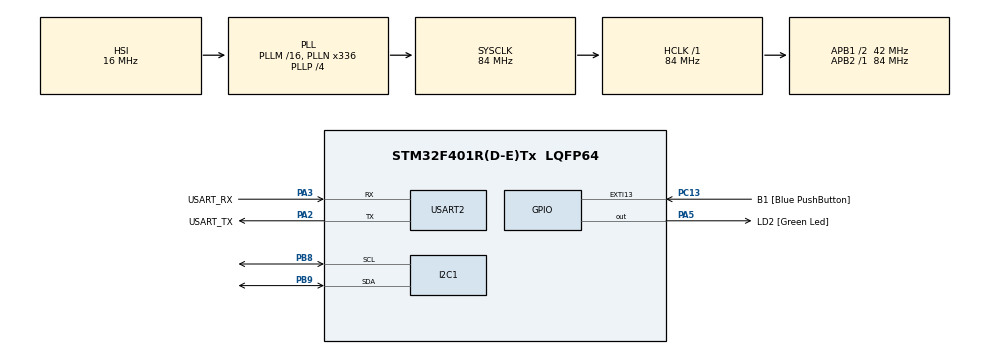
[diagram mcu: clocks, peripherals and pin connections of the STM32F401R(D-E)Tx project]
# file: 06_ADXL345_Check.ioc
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Mcu.Family=STM32F4
Mcu.Name=STM32F401R(D-E)Tx
Mcu.Package=LQFP64
NVIC.PriorityGroup=NVIC_PRIORITYGROUP_4
PA13.GPIO_Label=TMS
PA13.Mode=Trace_Asynchronous_SW
PA13.Signal=SYS_JTMS-SWDIO
PA14.GPIO_Label=TCK
PA14.Mode=Trace_Asynchronous_SW
PA14.Signal=SYS_JTCK-SWCLK
PA2.GPIO_Label=USART_TX
PA2.GPIO_Mode=GPIO_MODE_AF_PP
PA2.GPIO_PuPd=GPIO_NOPULL
PA2.GPIO_Speed=GPIO_SPEED_FREQ_LOW
PA2.Mode=Asynchronous
PA2.Signal=USART2_TX
PA3.GPIO_Label=USART_RX
PA3.GPIO_Mode=GPIO_MODE_AF_PP
PA3.GPIO_PuPd=GPIO_NOPULL
PA3.GPIO_Speed=GPIO_SPEED_FREQ_LOW
PA3.Mode=Asynchronous
PA3.Signal=USART2_RX
PA5.GPIO_Label=LD2 [Green Led]
PA5.GPIO_Mode=GPIO_MODE_OUTPUT_PP
PA5.GPIO_PuPd=GPIO_NOPULL
PA5.GPIO_Speed=GPIO_SPEED_FREQ_LOW
PA5.Signal=GPIO_Output
PB3.GPIO_Label=SWO
PB3.Mode=Trace_Asynchronous_SW
PB3.Signal=SYS_JTDO-SWO
PB8.Mode=I2C
PB8.Signal=I2C1_SCL
PB9.Mode=I2C
PB9.Signal=I2C1_SDA
PC13-ANTI_TAMP.GPIO_Label=B1 [Blue PushButton]
PC13-ANTI_TAMP.GPIO_ModeDefaultEXTI=GPIO_MODE_IT_FALLING
PC13-ANTI_TAMP.GPIO_PuPd=GPIO_NOPULL
PC13-ANTI_TAMP.Signal=GPXTI13
PC14-OSC32_IN.Mode=LSE-External-Oscillator
PC14-OSC32_IN.Signal=RCC_OSC32_IN
PC15-OSC32_OUT.Mode=LSE-External-Oscillator
PC15-OSC32_OUT.Signal=RCC_OSC32_OUT
PH0\ -\ OSC_IN.Mode=HSE-External-Clock-Source
PH0\ -\ OSC_IN.Signal=RCC_OSC_IN
PH1\ -\ OSC_OUT.Mode=HSE-External-Clock-Source
PH1\ -\ OSC_OUT.Signal=RCC_OSC_OUT
ProjectManager.HeapSize=0x200
ProjectManager.StackSize=0x400
ProjectManager.TargetToolchain=STM32CubeIDE
RCC.48MHZClocksFreq_Value=48000000
RCC.AHBFreq_Value=84000000
RCC.APB1CLKDivider=RCC_HCLK_DIV2
RCC.APB1Freq_Value=42000000
RCC.APB1TimFreq_Value=84000000
RCC.APB2Freq_Value=84000000
RCC.APB2TimFreq_Value=84000000
RCC.CortexFreq_Value=84000000
RCC.HCLKFreq_Value=84000000
RCC.HSE_VALUE=8000000
RCC.HSI_VALUE=16000000
RCC.PLLN=336
RCC.PLLP=RCC_PLLP_DIV4
RCC.PLLQ=7
RCC.SYSCLKFreq_VALUE=84000000
RCC.SYSCLKSource=RCC_SYSCLKSOURCE_PLLCLK
RCC.VCOOutputFreq_Value=336000000
USART2.VirtualMode=VM_ASYNC
board=NUCLEO-F401RE

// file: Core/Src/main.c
/* USER CODE BEGIN Header */
/**
  ******************************************************************************
  * @file           : main.c
  * @brief          : Main program body
  ******************************************************************************
  * @attention
  *
  * Copyright (c) 2026 STMicroelectronics.
  * All rights reserved.
  *
  * This software is licensed under terms that can be found in the LICENSE file
  * in the root directory of this software component.
  * If no LICENSE file comes with this software, it is provided AS-IS.
  *
  ******************************************************************************
  */
/* USER CODE END Header */
#include "main.h"

/* USER CODE BEGIN PD */
#define ADXL_ADDR (0x53<<1)	// ADXL345 device ID

// ADXL345 register address
#define ADXL_REG_ID 0x00	// ID
#define ADXL_REG_POWER_CTL 0x2D	// Power Control
#define ADXL_REG_DATAX0 0x32	// DATA X0
#define ADXL_REG_DATAX1 0x33	// DATA X1
#define ADXL_REG_DATAY0 0x34	// DATA Y0
#define ADXL_REG_DATAY1 0x35	// DATA Y1
#define ADXL_REG_DATAZ0 0x36	// DATA Z0
#define ADXL_REG_DATAZ1 0x37	// DATA Z1

/* USER CODE END PD */

I2C_HandleTypeDef hi2c1;

UART_HandleTypeDef huart2;

/* USER CODE BEGIN PV */
char msg[64];
/* USER CODE END PV */

void SystemClock_Config(void);
static void MX_GPIO_Init(void);
static void MX_USART2_UART_Init(void);
static void MX_I2C1_Init(void);
/* USER CODE BEGIN PFP */
void ADXL345_Init(I2C_HandleTypeDef *hi2c);
void ADXL345_Read_ID_UART(I2C_HandleTypeDef *hi2c, UART_HandleTypeDef *huart);
HAL_StatusTypeDef ADXL345_Read_Raw(I2C_HandleTypeDef *hi2c, int16_t *x, int16_t *y, int16_t *z);
/* USER CODE END PFP */

int main(void)
{

  /* MCU Configuration--------------------------------------------------------*/

  /* Reset of all peripherals, Initializes the Flash interface and the Systick. */
  HAL_Init();

  /* Configure the system clock */
  SystemClock_Config();

  /* Initialize all configured peripherals */
  MX_GPIO_Init();
  MX_USART2_UART_Init();
  MX_I2C1_Init();
  /* USER CODE BEGIN 2 */
  ADXL345_Init(&hi2c1);
  ADXL345_Read_ID_UART(&hi2c1, &huart2);
  int16_t x, y, z;
  /* USER CODE END 2 */

  /* Infinite loop */
  while (1)
  {

    /* USER CODE BEGIN 3 */

	// Update XYZ data
	if(ADXL345_Read_Raw(&hi2c1, &x, &y, &z) == HAL_OK)
	{
		int len = sprintf(msg, "X=%5d | Y=%5d | Z=%5d\r\n", x, y, z);
		HAL_UART_Transmit(&huart2, (uint8_t*)msg, len, 100);
	}

	HAL_Delay(300);
  }
  /* USER CODE END 3 */
}

void SystemClock_Config(void)
{
  RCC_OscInitTypeDef RCC_OscInitStruct = {0};
  RCC_ClkInitTypeDef RCC_ClkInitStruct = {0};

  /** Configure the main internal regulator output voltage
  */
  __HAL_RCC_PWR_CLK_ENABLE();
  __HAL_PWR_VOLTAGESCALING_CONFIG(PWR_REGULATOR_VOLTAGE_SCALE2);

  /** Initializes the RCC Oscillators according to the specified parameters
  * in the RCC_OscInitTypeDef structure.
  */
  RCC_OscInitStruct.OscillatorType = RCC_OSCILLATORTYPE_HSI;
  RCC_OscInitStruct.HSIState = RCC_HSI_ON;
  RCC_OscInitStruct.HSICalibrationValue = RCC_HSICALIBRATION_DEFAULT;
  RCC_OscInitStruct.PLL.PLLState = RCC_PLL_ON;
  RCC_OscInitStruct.PLL.PLLSource = RCC_PLLSOURCE_HSI;
  RCC_OscInitStruct.PLL.PLLM = 16;
  RCC_OscInitStruct.PLL.PLLN = 336;
  RCC_OscInitStruct.PLL.PLLP = RCC_PLLP_DIV4;
  RCC_OscInitStruct.PLL.PLLQ = 7;
  if (HAL_RCC_OscConfig(&RCC_OscInitStruct) != HAL_OK)
  {
    Error_Handler();
  }

  /** Initializes the CPU, AHB and APB buses clocks
  */
  RCC_ClkInitStruct.ClockType = RCC_CLOCKTYPE_HCLK|RCC_CLOCKTYPE_SYSCLK
                              |RCC_CLOCKTYPE_PCLK1|RCC_CLOCKTYPE_PCLK2;
  RCC_ClkInitStruct.SYSCLKSource = RCC_SYSCLKSOURCE_PLLCLK;
  RCC_ClkInitStruct.AHBCLKDivider = RCC_SYSCLK_DIV1;
  RCC_ClkInitStruct.APB1CLKDivider = RCC_HCLK_DIV2;
  RCC_ClkInitStruct.APB2CLKDivider = RCC_HCLK_DIV1;

  if (HAL_RCC_ClockConfig(&RCC_ClkInitStruct, FLASH_LATENCY_2) != HAL_OK)
  {
    Error_Handler();
  }
}

static void MX_I2C1_Init(void)
{

  hi2c1.Instance = I2C1;
  hi2c1.Init.ClockSpeed = 100000;
  hi2c1.Init.DutyCycle = I2C_DUTYCYCLE_2;
  hi2c1.Init.OwnAddress1 = 0;
  hi2c1.Init.AddressingMode = I2C_ADDRESSINGMODE_7BIT;
  hi2c1.Init.DualAddressMode = I2C_DUALADDRESS_DISABLE;
  hi2c1.Init.OwnAddress2 = 0;
  hi2c1.Init.GeneralCallMode = I2C_GENERALCALL_DISABLE;
  hi2c1.Init.NoStretchMode = I2C_NOSTRETCH_DISABLE;
  if (HAL_I2C_Init(&hi2c1) != HAL_OK)
  {
    Error_Handler();
  }

}

static void MX_USART2_UART_Init(void)
{

  huart2.Instance = USART2;
  huart2.Init.BaudRate = 115200;
  huart2.Init.WordLength = UART_WORDLENGTH_8B;
  huart2.Init.StopBits = UART_STOPBITS_1;
  huart2.Init.Parity = UART_PARITY_NONE;
  huart2.Init.Mode = UART_MODE_TX_RX;
  huart2.Init.HwFlowCtl = UART_HWCONTROL_NONE;
  huart2.Init.OverSampling = UART_OVERSAMPLING_16;
  if (HAL_UART_Init(&huart2) != HAL_OK)
  {
    Error_Handler();
  }

}

static void MX_GPIO_Init(void)
{
  GPIO_InitTypeDef GPIO_InitStruct = {0};

  /* GPIO Ports Clock Enable */
  __HAL_RCC_GPIOC_CLK_ENABLE();
  __HAL_RCC_GPIOH_CLK_ENABLE();
  __HAL_RCC_GPIOA_CLK_ENABLE();
  __HAL_RCC_GPIOB_CLK_ENABLE();

  /*Configure GPIO pin Output Level */
  HAL_GPIO_WritePin(LD2_GPIO_Port, LD2_Pin, GPIO_PIN_RESET);

  /*Configure GPIO pin : B1_Pin */
  GPIO_InitStruct.Pin = B1_Pin;
  GPIO_InitStruct.Mode = GPIO_MODE_IT_FALLING;
  GPIO_InitStruct.Pull = GPIO_NOPULL;
  HAL_GPIO_Init(B1_GPIO_Port, &GPIO_InitStruct);

  /*Configure GPIO pin : LD2_Pin */
  GPIO_InitStruct.Pin = LD2_Pin;
  GPIO_InitStruct.Mode = GPIO_MODE_OUTPUT_PP;
  GPIO_InitStruct.Pull = GPIO_NOPULL;
  GPIO_InitStruct.Speed = GPIO_SPEED_FREQ_LOW;
  HAL_GPIO_Init(LD2_GPIO_Port, &GPIO_InitStruct);

}

/* USER CODE BEGIN 4 */
void ADXL345_Init(I2C_HandleTypeDef *hi2c)
{
	uint8_t power_cmd = (1<<3);	// Wake-Up ADXL // bit3 = 1
	HAL_I2C_Mem_Write(hi2c, ADXL_ADDR, ADXL_REG_POWER_CTL, 1, &power_cmd, 1, 100);
}

void ADXL345_Read_ID_UART(I2C_HandleTypeDef *hi2c, UART_HandleTypeDef *huart)
{
	uint8_t id_val = 0;
	HAL_StatusTypeDef ADXL_STATUS;

	// HAL_I2C_Mem_Read(which I2C, device ID, register addr, register length(byte), put data at, data reading length, timeout);
	ADXL_STATUS = HAL_I2C_Mem_Read(hi2c, ADXL_ADDR, ADXL_REG_ID, 1, &id_val, 1, 100);

	if(ADXL_STATUS == HAL_OK)
	{
		int len = sprintf(msg, "connect is OK! ADXL345 ID is 0x%02X\r\n", id_val);
		HAL_UART_Transmit(huart, (uint8_t*)msg, len, 100);
	}
	else
	{
		int len = sprintf(msg, "ADXL connect has other BUGs!\r\n");
		if(ADXL_STATUS == HAL_BUSY)	len = sprintf(msg, "ADXL connect is BUSY!\r\n");
		if(ADXL_STATUS == HAL_ERROR)	len = sprintf(msg, "ADXL connect is ERROR!\r\n");
		if(ADXL_STATUS == HAL_TIMEOUT)	len = sprintf(msg, "ADXL connect is TIMEOUT!\r\n");
		HAL_UART_Transmit(huart, (uint8_t*)msg, len, 100);
	}
}

HAL_StatusTypeDef ADXL345_Read_Raw(I2C_HandleTypeDef *hi2c, int16_t *x, int16_t *y, int16_t *z)
{
	uint8_t raw_data[6];
	HAL_StatusTypeDef status = HAL_I2C_Mem_Read(hi2c, ADXL_ADDR, ADXL_REG_DATAX0, 1, raw_data, 6, 100);
	if(status == HAL_OK)
	{
	  *x = (int16_t)((raw_data[1]<<8) | raw_data[0]);
	  *y = (int16_t)((raw_data[3]<<8) | raw_data[2]);
	  *z = (int16_t)((raw_data[5]<<8) | raw_data[4]);
	}
	return status;
}

/* USER CODE END 4 */

void Error_Handler(void)
{
  __disable_irq();
  while (1)
  {
  }
}
